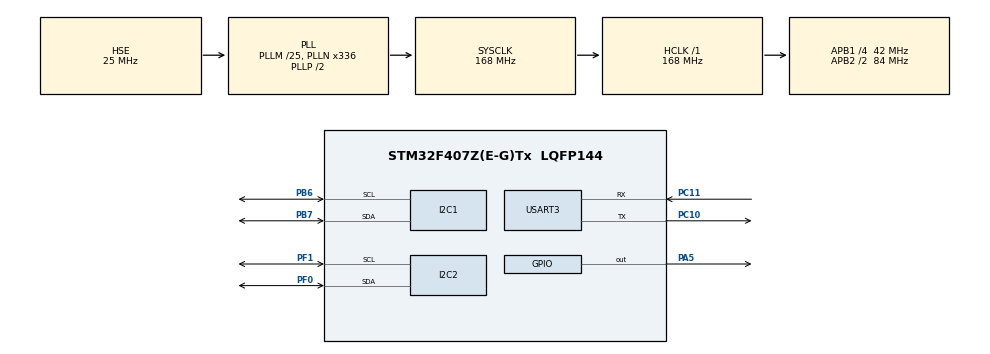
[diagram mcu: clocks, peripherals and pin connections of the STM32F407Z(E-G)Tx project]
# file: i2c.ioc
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Mcu.Family=STM32F4
Mcu.Name=STM32F407Z(E-G)Tx
Mcu.Package=LQFP144
NVIC.PriorityGroup=NVIC_PRIORITYGROUP_4
NVIC.USART3_IRQn=true\:0\:0\:false\:false\:true\:true\:true\:true
PA13.Mode=Serial_Wire
PA13.Signal=SYS_JTMS-SWDIO
PA14.Mode=Serial_Wire
PA14.Signal=SYS_JTCK-SWCLK
PA5.Signal=GPIO_Output
PB6.Mode=I2C
PB6.Signal=I2C1_SCL
PB7.Mode=I2C
PB7.Signal=I2C1_SDA
PC10.Mode=Asynchronous
PC10.Signal=USART3_TX
PC11.Mode=Asynchronous
PC11.Signal=USART3_RX
PF0.Mode=I2C
PF0.Signal=I2C2_SDA
PF1.Mode=I2C
PF1.Signal=I2C2_SCL
PH0-OSC_IN.Mode=HSE-External-Oscillator
PH0-OSC_IN.Signal=RCC_OSC_IN
PH1-OSC_OUT.Mode=HSE-External-Oscillator
PH1-OSC_OUT.Signal=RCC_OSC_OUT
ProjectManager.HeapSize=0x200
ProjectManager.StackSize=0x400
ProjectManager.TargetToolchain=MDK-ARM V5.32
RCC.48MHZClocksFreq_Value=84000000
RCC.AHBFreq_Value=168000000
RCC.APB1CLKDivider=RCC_HCLK_DIV4
RCC.APB1Freq_Value=42000000
RCC.APB1TimFreq_Value=84000000
RCC.APB2CLKDivider=RCC_HCLK_DIV2
RCC.APB2Freq_Value=84000000
RCC.APB2TimFreq_Value=168000000
RCC.CortexFreq_Value=168000000
RCC.HCLKFreq_Value=168000000
RCC.HSE_VALUE=25000000
RCC.HSI_VALUE=16000000
RCC.LSE_VALUE=32768
RCC.PLLM=25
RCC.PLLN=336
RCC.PLLSourceVirtual=RCC_PLLSOURCE_HSE
RCC.SYSCLKFreq_VALUE=168000000
RCC.SYSCLKSource=RCC_SYSCLKSOURCE_PLLCLK
RCC.VCOOutputFreq_Value=336000000
USART3.VirtualMode=VM_ASYNC
board=custom

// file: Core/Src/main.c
/* USER CODE BEGIN Header */
/**
  ******************************************************************************
  * @file           : main.c
  * @brief          : Main program body
  ******************************************************************************
  * @attention
  *
  * Copyright (c) 2025 STMicroelectronics.
  * All rights reserved.
  *
  * This software is licensed under terms that can be found in the LICENSE file
  * in the root directory of this software component.
  * If no LICENSE file comes with this software, it is provided AS-IS.
  *
  ******************************************************************************
  */
/* USER CODE END Header */
#include "main.h"
#include "i2c.h"
#include "usart.h"
#include "gpio.h"

/* USER CODE BEGIN Includes */
#include "stdio.h"
#include "AHT10.h"
/* USER CODE END Includes */

/* USER CODE BEGIN PTD */
void I2C2_Scan(void)
{
    uint8_t addr;
    printf("I2C2 Scan Start:\r\n");

    for(addr = 0x08; addr < 0x78; addr++)
    {
        if(HAL_I2C_IsDeviceReady(&hi2c2, addr << 1, 1, 50) == HAL_OK)
        {
            printf("Find Dev: 0x%02X\r\n", addr);
        }
    }
    printf("Scan Finish\r\n\r\n");
}
/* USER CODE END PTD */

void SystemClock_Config(void);

int main(void)
{

  /* MCU Configuration--------------------------------------------------------*/

  /* Reset of all peripherals, Initializes the Flash interface and the Systick. */
  HAL_Init();

  /* Configure the system clock */
  SystemClock_Config();

  /* Initialize all configured peripherals */
  MX_GPIO_Init();
  MX_USART3_UART_Init();
  MX_I2C2_Init();
  MX_I2C1_Init();
  /* USER CODE BEGIN 2 */
  //AHT10初始化
	Aht10_init();
	printf("START\n");
	AHT_data temp;
  I2C2_Scan();
  /* USER CODE END 2 */

  /* Infinite loop */
  while (1)
  {

    /* USER CODE BEGIN 3 */
	  //获取温湿度数据
	  temp=Aht10_getdata();
	  //判断是否读取成功
	  if(temp.humidity!=NULL){
		  //成功打印读取到的温湿度数据
		printf("H:%.1f,T:%.1f\n",temp.humidity,temp.temperature);
	  }
	  HAL_Delay(2000);
  }
  /* USER CODE END 3 */
}

void SystemClock_Config(void)
{
  RCC_OscInitTypeDef RCC_OscInitStruct = {0};
  RCC_ClkInitTypeDef RCC_ClkInitStruct = {0};

  /** Configure the main internal regulator output voltage
  */
  __HAL_RCC_PWR_CLK_ENABLE();
  __HAL_PWR_VOLTAGESCALING_CONFIG(PWR_REGULATOR_VOLTAGE_SCALE1);

  /** Initializes the RCC Oscillators according to the specified parameters
  * in the RCC_OscInitTypeDef structure.
  */
  RCC_OscInitStruct.OscillatorType = RCC_OSCILLATORTYPE_HSE;
  RCC_OscInitStruct.HSEState = RCC_HSE_ON;
  RCC_OscInitStruct.PLL.PLLState = RCC_PLL_ON;
  RCC_OscInitStruct.PLL.PLLSource = RCC_PLLSOURCE_HSE;
  RCC_OscInitStruct.PLL.PLLM = 25;
  RCC_OscInitStruct.PLL.PLLN = 336;
  RCC_OscInitStruct.PLL.PLLP = RCC_PLLP_DIV2;
  RCC_OscInitStruct.PLL.PLLQ = 4;
  if (HAL_RCC_OscConfig(&RCC_OscInitStruct) != HAL_OK)
  {
    Error_Handler();
  }

  /** Initializes the CPU, AHB and APB buses clocks
  */
  RCC_ClkInitStruct.ClockType = RCC_CLOCKTYPE_HCLK|RCC_CLOCKTYPE_SYSCLK
                              |RCC_CLOCKTYPE_PCLK1|RCC_CLOCKTYPE_PCLK2;
  RCC_ClkInitStruct.SYSCLKSource = RCC_SYSCLKSOURCE_PLLCLK;
  RCC_ClkInitStruct.AHBCLKDivider = RCC_SYSCLK_DIV1;
  RCC_ClkInitStruct.APB1CLKDivider = RCC_HCLK_DIV4;
  RCC_ClkInitStruct.APB2CLKDivider = RCC_HCLK_DIV2;

  if (HAL_RCC_ClockConfig(&RCC_ClkInitStruct, FLASH_LATENCY_5) != HAL_OK)
  {
    Error_Handler();
  }
}

/* USER CODE BEGIN 4 */
int fputc(int ch, FILE *f)
{
  HAL_UART_Transmit(&huart3,(uint8_t *)&ch, 1, 1000);
  return ch;
}
/* USER CODE END 4 */

void Error_Handler(void)
{
  __disable_irq();
  while (1)
  {
  }
}
